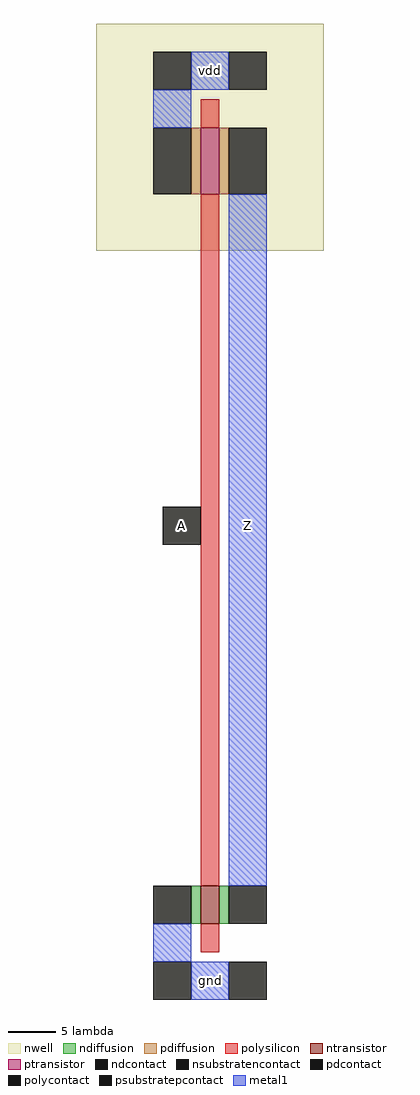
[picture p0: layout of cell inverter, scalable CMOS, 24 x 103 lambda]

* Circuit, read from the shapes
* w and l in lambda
.subckt inverter A Z gnd vdd
M1 Z A gnd gnd nfet w=4 l=2
M2 Z A vdd vdd pfet w=7 l=2
.ends

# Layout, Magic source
magic
tech scmos
<< nwell >>
rect -11 29 13 53
<< ntransistor >>
rect 0 -42 2 -38
<< ptransistor >>
rect 0 35 2 42
<< ndiffusion >>
rect -1 -42 0 -38
rect 2 -42 3 -38
<< pdiffusion >>
rect -1 35 0 42
rect 2 35 3 42
<< ndcontact >>
rect -5 -42 -1 -38
rect 3 -42 7 -38
<< pdcontact >>
rect -5 35 -1 42
rect 3 35 7 42
<< psubstratepcontact >>
rect -5 -50 -1 -46
rect 3 -50 7 -46
<< nsubstratencontact >>
rect -5 46 -1 50
rect 3 46 7 50
<< polysilicon >>
rect 0 42 2 45
rect 0 -38 2 35
rect 0 -45 2 -42
<< polycontact >>
rect -4 -2 0 2
<< metal1 >>
rect -1 46 3 50
rect -5 42 -1 46
rect 3 -38 7 35
rect -5 -46 -1 -42
rect -1 -50 3 -46
<< labels >>
rlabel metal1 1 48 1 48 5 vdd
rlabel metal1 1 -48 1 -48 1 gnd
rlabel polycontact -2 0 -2 0 1 A
rlabel metal1 5 0 5 0 1 Z
<< end >>
